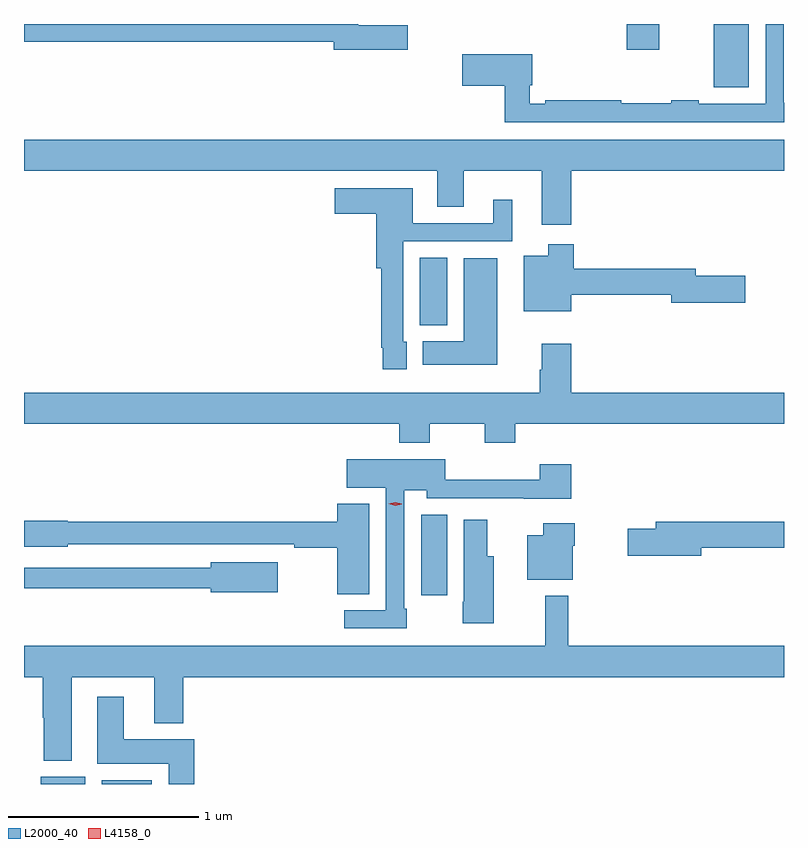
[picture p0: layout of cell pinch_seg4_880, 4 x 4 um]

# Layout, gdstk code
import gdstk
lib = gdstk.Library(unit=1e-6, precision=1e-09)
def R(c, l, rs):  # rectangles x0, y0, x1, y1
    for r in rs: c.add(gdstk.rectangle(r[:2], r[2:], *l))
def P(c, l, *ps):  # polygons
    for p in ps: c.add(gdstk.Polygon(p, *l))
L2000_40 = (2000, 40)
L4158_0 = (4158, 0)

pinch_seg4_880 = lib.new_cell('pinch_seg4_880')
R(pinch_seg4_880, L2000_40, [(706.148,814.905,706.381,814.942), (706.469,814.905,706.732,814.924), (708.149,815.898,708.286,816.323), (708.143,817.319,708.286,817.676), (709.688,818.573,709.873,818.905), (709.232,818.769,709.402,818.905)])
P(pinch_seg4_880, L2000_40, [(708.079,818.899),(707.818,818.899),(707.818,818.905),(706.059,818.905),(706.059,818.812),(707.69,818.812),(707.69,818.77),(708.079,818.77)],
  [(710.059,818.491),(710.058,818.491),(710.058,818.905),(709.962,818.905),(709.962,818.484),(709.61,818.484),(709.61,818.504),(709.465,818.504),(709.465,818.489),(709.202,818.489),(709.202,818.504),(708.802,818.504),(708.802,818.484),(708.721,818.484),(708.721,818.583),(708.733,818.583),(708.733,818.745),(708.366,818.745),(708.366,818.579),(708.589,818.579),(708.589,818.388),(710.059,818.388)],
  [(708.938,818.132),(710.059,818.132),(710.059,818.296),(706.059,818.296),(706.059,818.132),(708.233,818.132),(708.233,817.942),(708.373,817.942),(708.373,818.132),(708.785,818.132),(708.785,817.848),(708.938,817.848)],
  [(708.073,817.233),(708.054,817.233),(708.054,817.761),(708.628,817.761),(708.628,817.981),(708.53,817.981),(708.53,817.857),(708.106,817.857),(708.106,818.041),(707.694,818.041),(707.694,817.907),(707.912,817.907),(707.912,817.619),(707.938,817.619),(707.938,817.201),(707.946,817.201),(707.946,817.089),(708.073,817.089)],
  [(708.94,817.48),(709.466,817.48),(709.466,817.438),(709.855,817.438),(709.855,817.58),(709.594,817.58),(709.594,817.616),(708.953,817.616),(708.953,817.747),(708.818,817.747),(708.818,817.684),(708.689,817.684),(708.689,817.394),(708.94,817.394)],
  [(708.55,817.672),(708.374,817.672),(708.374,817.234),(708.158,817.234),(708.158,817.112),(708.55,817.112)],
  [(708.195,816.8),(708.484,816.8),(708.484,816.701),(708.644,816.701),(708.644,816.8),(710.059,816.8),(710.059,816.964),(708.938,816.964),(708.938,817.222),(708.785,817.222),(708.785,817.085),(708.773,817.085),(708.773,816.964),(706.059,816.964),(706.059,816.8),(708.035,816.8),(708.035,816.701),(708.195,816.701)],
  [(708.073,815.827),(708.06,815.827),(708.06,816.452),(708.18,816.452),(708.18,816.408),(708.689,816.408),(708.689,816.407),(708.938,816.407),(708.938,816.589),(708.773,816.589),(708.773,816.506),(708.276,816.506),(708.276,816.613),(707.757,816.613),(707.757,816.464),(707.964,816.464),(707.964,815.82),(707.745,815.82),(707.745,815.724),(708.073,815.724)],
  [(707.875,816.379),(707.708,816.379),(707.708,816.284),(706.29,816.284),(706.29,816.29),(706.059,816.29),(706.059,816.155),(706.29,816.155),(706.29,816.168),(707.482,816.168),(707.482,816.148),(707.708,816.148),(707.708,815.905),(707.875,815.905)],
  [(708.532,816.103),(708.496,816.103),(708.496,816.295),(708.374,816.295),(708.374,815.863),(708.367,815.863),(708.367,815.751),(708.532,815.751)],
  [(709.624,816.148),(710.059,816.148),(710.059,816.284),(709.385,816.284),(709.385,816.248),(709.236,816.248),(709.236,816.106),(709.624,816.106)],
  [(708.946,816.159),(708.958,816.159),(708.958,816.277),(708.793,816.277),(708.793,816.214),(708.707,816.214),(708.707,815.981),(708.946,815.981)],
  [(707.395,816.073),(707.042,816.073),(707.042,816.042),(706.059,816.042),(706.059,815.934),(707.042,815.934),(707.042,815.915),(707.395,815.915)],
  [(706.059,815.468),(706.157,815.468),(706.157,815.253),(706.162,815.253),(706.162,815.027),(706.309,815.027),(706.309,815.468),(706.745,815.468),(706.745,815.225),(706.898,815.225),(706.898,815.468),(710.059,815.468),(710.059,815.632),(708.923,815.632),(708.923,815.896),(708.802,815.896),(708.802,815.632),(706.059,815.632)],
  [(706.955,815.14),(706.585,815.14),(706.585,815.365),(706.445,815.365),(706.445,815.012),(706.82,815.012),(706.82,814.905),(706.955,814.905)])
P(pinch_seg4_880, L4158_0, [(708.013,816.369),(707.978,816.38),(707.978,816.38),(707.978,816.38),(708.013,816.389),(708.047,816.379),(708.048,816.378),(708.047,816.378)])

lib.write_gds('pinch_seg4_880.gds')
